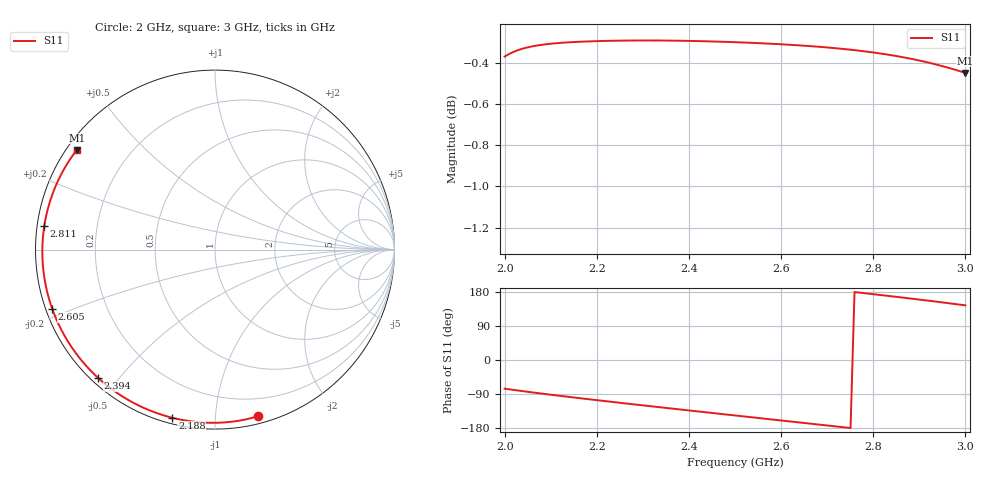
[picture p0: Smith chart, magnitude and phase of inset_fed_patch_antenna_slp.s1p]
! Created Sat Jan 18 22:57:34 2025
! List of port names and net name(s): example Port n = <port_name> <net_name1> <net_name2> ...
! Port 1 = P1 P1
# hz S ma R 50
! 1 Port Network Data from data block
! freq  magS11  angS11
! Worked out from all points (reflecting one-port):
!   141 points, 2 GHz to 3 GHz, reference 50 ohm
!   lowest |S11| = -0.4 dB at 3 GHz (marker M1), VSWR 38.75, Z = 1.42 + j16.1 ohm
!   phase of S11 starts at -76 deg and turns -140 deg over the sweep
!   S11 on the Smith chart (normalised r, x): 2 GHz: 0.06, -1.29; 2.188 GHz: 0.03, -0.78; 2.394 GHz: 0.02, -0.44; 2.605 GHz: 0.02, -0.18; 2.811 GHz: 0.02, +0.07; 3 GHz: 0.03, +0.32
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2e9  0.9584 -75.7
2.028125e9  0.9618 -80.4
2.060938e9  0.964 -85.6
2.09375e9  0.9652 -90.6
2.126562e9  0.9659 -95.5
2.154688e9  0.9663 -99.6
2.1875e9  0.9666 -104.2
2.215625e9  0.9669 -108.2
2.253125e9  0.967 -113.3
2.316406e9  0.9671 -121.9
2.379688e9  0.967 -130.4
2.39375e9  0.9669 -132.3
2.45e9  0.9666 -139.7
2.501562e9  0.9662 -146.5
2.553125e9  0.9656 -153.3
2.604688e9  0.965 -160.0
2.630469e9  0.9646 -163.4
2.690625e9  0.9635 -171.4
2.725e9  0.9628 -176.0
2.750781e9  0.9621 -179.5
2.785156e9  0.9611 175.8
2.810938e9  0.9602 172.2
2.845312e9  0.9589 167.4
2.879688e9  0.9574 162.5
2.914062e9  0.9555 157.4
2.939844e9  0.954 153.6
2.974219e9  0.9517 148.3
3e9  0.9497 144.2
